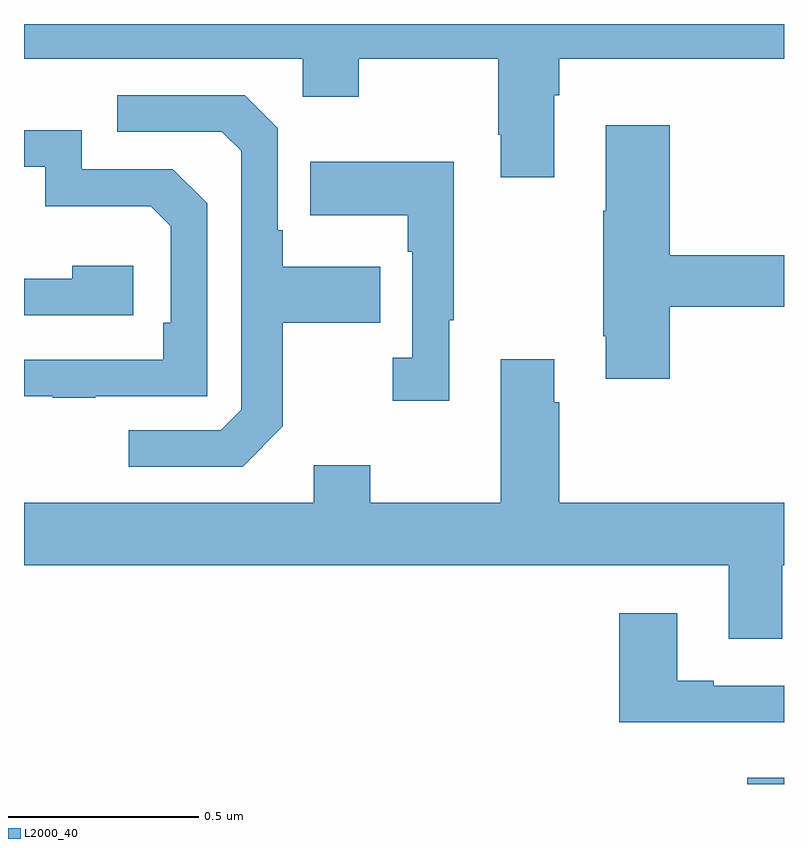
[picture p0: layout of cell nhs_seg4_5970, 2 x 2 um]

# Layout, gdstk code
import gdstk
lib = gdstk.Library(unit=1e-6, precision=1e-09)
def R(c, l, rs):  # rectangles x0, y0, x1, y1
    for r in rs: c.add(gdstk.rectangle(r[:2], r[2:], *l))
def P(c, l, *ps):  # polygons
    for p in ps: c.add(gdstk.Polygon(p, *l))
L2000_40 = (2000, 40)

nhs_seg4_5970 = lib.new_cell('nhs_seg4_5970')
R(nhs_seg4_5970, L2000_40, [(185.903,806.9,186,806.917)])
P(nhs_seg4_5970, L2000_40, [(185.395,808.712),(185.408,808.712),(185.408,808.808),(186,808.808),(186,808.9),(184,808.9),(184,808.808),(184.734,808.808),(184.734,808.709),(184.881,808.709),(184.881,808.808),(185.248,808.808),(185.248,808.609),(185.255,808.609),(185.255,808.497),(185.395,808.497)],
  [(184.681,807.841),(184.681,808.114),(184.937,808.114),(184.937,808.261),(184.681,808.261),(184.681,808.357),(184.668,808.357),(184.668,808.626),(184.581,808.713),(184.245,808.713),(184.245,808.617),(184.521,808.617),(184.572,808.566),(184.572,807.885),(184.518,807.831),(184.275,807.831),(184.275,807.735),(184.575,807.735)],
  [(185.699,808.156),(186,808.156),(186,808.292),(185.699,808.292),(185.699,808.633),(185.531,808.633),(185.531,808.409),(185.524,808.409),(185.524,808.078),(185.531,808.078),(185.531,807.966),(185.699,807.966)],
  [(184.187,807.921),(184.482,807.921),(184.482,808.428),(184.392,808.518),(184.152,808.518),(184.152,808.62),(184,808.62),(184,808.524),(184.056,808.524),(184.056,808.421),(184.333,808.421),(184.386,808.368),(184.386,808.114),(184.366,808.114),(184.366,808.017),(184,808.017),(184,807.921),(184.075,807.921),(184.075,807.916),(184.187,807.916)],
  [(185.119,808.121),(185.131,808.121),(185.131,808.537),(184.753,808.537),(184.753,808.397),(185.01,808.397),(185.01,808.301),(185.022,808.301),(185.022,808.022),(184.971,808.022),(184.971,807.909),(185.119,807.909)],
  [(184.288,808.264),(184.127,808.264),(184.127,808.23),(184,808.23),(184,808.134),(184.288,808.134)],
  [(185.995,807.476),(186,807.476),(186,807.64),(185.408,807.64),(185.408,807.905),(185.395,807.905),(185.395,808.018),(185.255,808.018),(185.255,807.64),(184.911,807.64),(184.911,807.739),(184.763,807.739),(184.763,807.64),(184,807.64),(184,807.476),(185.855,807.476),(185.855,807.282),(185.995,807.282)],
  [(186,807.159),(185.815,807.159),(185.815,807.172),(185.719,807.172),(185.719,807.349),(185.567,807.349),(185.567,807.062),(186,807.062)])

lib.write_gds('nhs_seg4_5970.gds')
